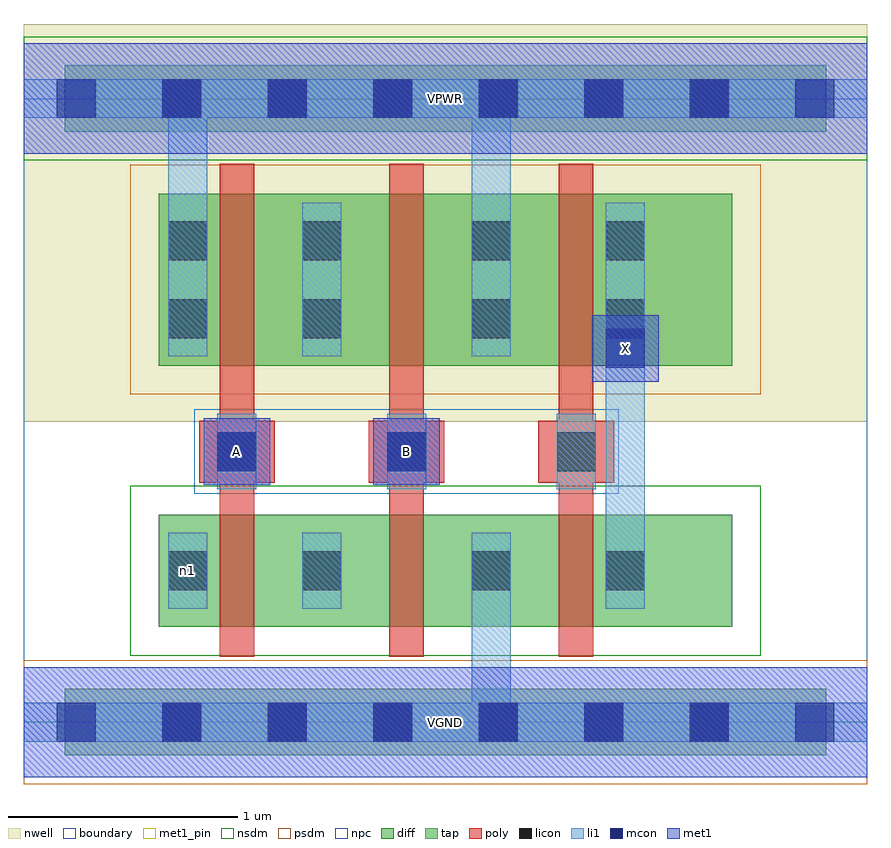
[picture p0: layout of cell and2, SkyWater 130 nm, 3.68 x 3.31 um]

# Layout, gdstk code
import gdstk
lib = gdstk.Library(unit=1e-6, precision=1e-09)
def R(c, l, rs):  # rectangles x0, y0, x1, y1
    for r in rs: c.add(gdstk.rectangle(r[:2], r[2:], *l))
def A(c, l, x, y, w, h, nx, ny, dx, dy):  # array of equal rectangles
    R(c, l, [(x+i*dx, y+j*dy, x+i*dx+w, y+j*dy+h) for i in range(nx) for j in range(ny)])
nwell = (64, 20)
diff = (65, 20)
tap = (65, 44)
poly = (66, 20)
licon = (66, 44)
li1 = (67, 20)
mcon = (67, 44)
met1_pin = (68, 16)
met1 = (68, 20)
nsdm = (93, 44)
psdm = (94, 20)
npc = (95, 20)
boundary = (235, 4)

and2 = lib.new_cell('and2')
R(and2, nwell, [(0,1.31,3.68,3.045)])
R(and2, diff, [(0.59,0.415,3.09,0.905), (0.59,1.555,3.09,2.305)])
R(and2, tap, [(0.18,-0.145,3.5,0.145), (0.18,2.575,3.5,2.865)])
A(and2, poly, 0.855, 0.285, 0.15, 2.15, 3, 1, 0.74, 0)
A(and2, poly, 0.765, 1.045, 0.33, 0.27, 3, 1, 0.74, 0)
A(and2, licon, 0.605, -0.085, 0.17, 0.17, 6, 2, 0.46, 2.72)
A(and2, licon, 0.845, 1.095, 0.17, 0.17, 3, 1, 0.74, 0)
R(and2, licon, [(0.63,0.575,0.8,0.745), (1.215,0.575,1.385,0.745), (1.955,0.575,2.125,0.745), (2.54,0.575,2.71,0.745), (0.63,1.675,0.8,1.845), (1.215,1.675,1.385,1.845), (1.955,1.675,2.125,1.845), (2.54,1.675,2.71,1.845), (0.63,2.015,0.8,2.185), (1.215,2.015,1.385,2.185), (1.955,2.015,2.125,2.185), (2.54,2.015,2.71,2.185)])
A(and2, li1, 0.845, 1.015, 0.17, 0.33, 3, 1, 0.74, 0)
R(and2, li1, [(0,-0.085,3.68,0.085), (1.955,-0.085,2.125,0.825), (0.63,0.495,0.8,0.825), (1.215,0.495,1.385,0.825), (1.955,0.495,2.125,0.825), (2.54,0.495,2.71,0.825), (2.54,0.495,2.71,2.265), (0.63,1.595,0.8,2.265), (0.63,1.595,0.8,2.805), (1.215,1.595,1.385,2.265), (1.955,1.595,2.125,2.265), (1.955,1.595,2.125,2.805), (2.54,1.595,2.71,2.265), (0,2.635,3.68,2.805)])
A(and2, mcon, 0.145, -0.085, 0.17, 0.17, 8, 2, 0.46, 2.72)
R(and2, mcon, [(0.845,1.095,1.015,1.265), (1.585,1.095,1.755,1.265), (2.54,1.545,2.71,1.715)])
R(and2, met1_pin, [(0,-0.24,3.68,0.24), (0.785,1.035,1.075,1.325), (1.525,1.035,1.815,1.325), (2.48,1.485,2.77,1.775), (0,2.48,3.68,2.96)])
R(and2, met1, [(0,-0.24,3.68,0.24), (0.785,1.035,1.075,1.325), (1.525,1.035,1.815,1.325), (2.48,1.485,2.77,1.775), (0,2.48,3.68,2.96)])
R(and2, nsdm, [(0.465,0.29,3.215,1.03), (0,2.45,3.68,2.99)])
R(and2, psdm, [(0,-0.27,3.68,0.27), (0.465,1.43,3.215,2.43)])
R(and2, npc, [(0.745,0.995,2.595,1.365)])
R(and2, boundary, [(0,0,3.68,2.72)])
and2.add(gdstk.Label('n1', (0.715,0.66), layer=67, texttype=5))
and2.add(gdstk.Label('X', (2.625,1.63), layer=68, texttype=5))
and2.add(gdstk.Label('A', (0.93,1.18), layer=68, texttype=5))
and2.add(gdstk.Label('B', (1.67,1.18), layer=68, texttype=5))
and2.add(gdstk.Label('VPWR', (1.84,2.72), layer=68, texttype=5))
and2.add(gdstk.Label('VGND', (1.84,0), layer=68, texttype=5))
and2.add(gdstk.Label('X', (2.625,1.63), layer=68, texttype=16))
and2.add(gdstk.Label('A', (0.93,1.18), layer=68, texttype=16))
and2.add(gdstk.Label('B', (1.67,1.18), layer=68, texttype=16))
and2.add(gdstk.Label('VPWR', (1.84,2.72), layer=68, texttype=16))
and2.add(gdstk.Label('VGND', (1.84,0), layer=68, texttype=16))

lib.write_gds('and2.gds')
